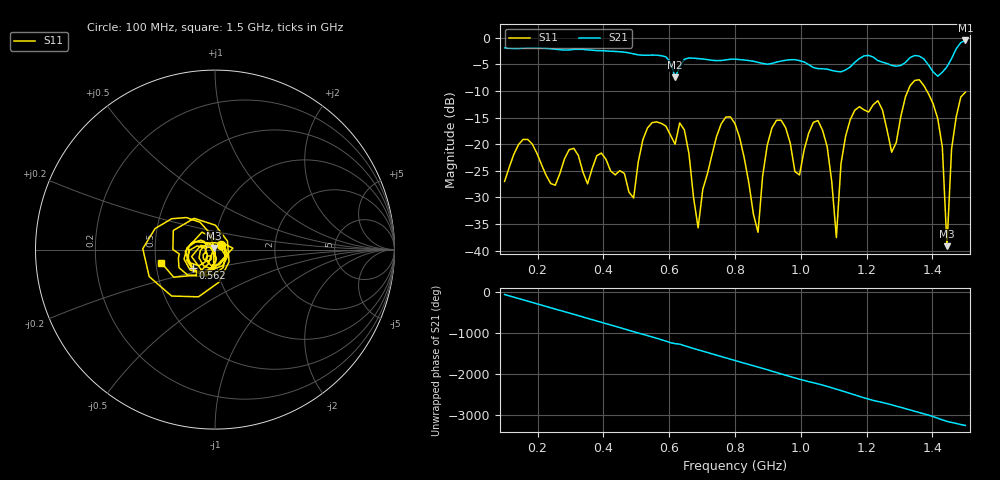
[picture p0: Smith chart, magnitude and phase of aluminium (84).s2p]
! NanoVNA-App
! Date: 2025-09-25 14:55:56
! Start: 100MHz Stop: 1,5GHz Points: 101
! S-Parameter data: F S11 S21 S12 S22
# Hz S RI R 50
!  Frequency  S11_Real  S11_Imag  S21_Real  S21_Imag  S12_Real  S12_Imag  S22_Real  S22_Imag
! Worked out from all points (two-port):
!   101 points, 100 MHz to 1.5 GHz, reference 50 ohm
!   highest |S21| = -0.53 dB at 1.5 GHz (marker M1); lowest = -7.4 dB at 618 MHz (marker M2)
!   |S21| within 3 dB of the highest: start of sweep to 585.3 MHz; 1.461 GHz to end of sweep (the widest 2 of 4)
!   lowest |S11| = -39.2 dB at 1.444 GHz (marker M3), VSWR 1.02, Z = 49.4 + j0.933 ohm
!   |S11| at or under -10 dB: start of sweep to 1.325 GHz; 1.383 GHz to end of sweep
!   S12 and S22 are empty: the file has one direction only
!   S11 on the Smith chart (normalised r, x): 100 MHz: 1.07, +0.06; 562 MHz: 0.76, -0.16; 1.5 GHz: 0.53, -0.09
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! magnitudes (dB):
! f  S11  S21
! 100 MHz  -27.0  -1.9
! 338 MHz  -25.3  -2.2
! 492 MHz  -30.1  -3.1
! 562 MHz  -15.8  -3.3
! 576 MHz  -16.1  -3.4
! 618 MHz  -20.0  -7.4
! 646 MHz  -17.3  -4.1
! 688 MHz  -35.7  -3.9
! 800 MHz  -16.2  -4.0
! 870 MHz  -36.6  -4.6
! 912 MHz  -17.0  -4.8
! 996 MHz  -25.8  -4.3
! 1.038 GHz  -15.9  -5.6
! 1.08 GHz  -20.5  -5.9
! 1.108 GHz  -37.6  -6.3
! 1.164 GHz  -13.6  -4.6
! 1.276 GHz  -21.5  -5.2
! 1.374 GHz  -9.0  -4.0
! 1.43 GHz  -20.6  -6.5
! 1.444 GHz  -39.2  -5.5
! 1.458 GHz  -20.9  -3.9
! 1.5 GHz  -10.2  -0.5
